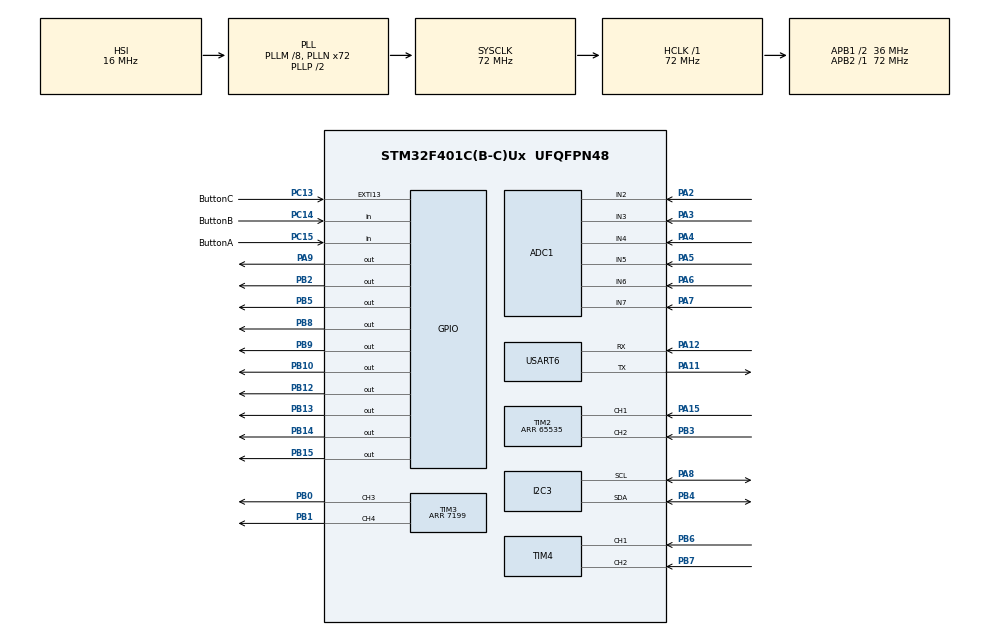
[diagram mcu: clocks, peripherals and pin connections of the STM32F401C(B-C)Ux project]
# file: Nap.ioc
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ADC1.Channel-0\#ChannelRegularConversion=ADC_CHANNEL_2
ADC1.Channel-1\#ChannelRegularConversion=ADC_CHANNEL_3
ADC1.Channel-2\#ChannelRegularConversion=ADC_CHANNEL_4
ADC1.Channel-3\#ChannelRegularConversion=ADC_CHANNEL_5
ADC1.Channel-4\#ChannelRegularConversion=ADC_CHANNEL_6
ADC1.Channel-5\#ChannelRegularConversion=ADC_CHANNEL_7
ADC1.ContinuousConvMode=ENABLE
ADC1.DMAContinuousRequests=ENABLE
ADC1.NbrOfConversion=6
ADC1.NbrOfConversionFlag=1
ADC1.Rank-0\#ChannelRegularConversion=1
ADC1.Rank-1\#ChannelRegularConversion=2
ADC1.Rank-2\#ChannelRegularConversion=3
ADC1.Rank-3\#ChannelRegularConversion=4
ADC1.Rank-4\#ChannelRegularConversion=5
ADC1.Rank-5\#ChannelRegularConversion=6
ADC1.SamplingTime-0\#ChannelRegularConversion=ADC_SAMPLETIME_56CYCLES
ADC1.SamplingTime-1\#ChannelRegularConversion=ADC_SAMPLETIME_56CYCLES
ADC1.SamplingTime-2\#ChannelRegularConversion=ADC_SAMPLETIME_56CYCLES
ADC1.SamplingTime-3\#ChannelRegularConversion=ADC_SAMPLETIME_56CYCLES
ADC1.SamplingTime-4\#ChannelRegularConversion=ADC_SAMPLETIME_56CYCLES
ADC1.SamplingTime-5\#ChannelRegularConversion=ADC_SAMPLETIME_56CYCLES
ADC1.master=1
Dma.ADC1.0.Direction=DMA_PERIPH_TO_MEMORY
Dma.ADC1.0.FIFOMode=DMA_FIFOMODE_DISABLE
Dma.ADC1.0.Instance=DMA2_Stream0
Dma.ADC1.0.MemDataAlignment=DMA_MDATAALIGN_HALFWORD
Dma.ADC1.0.MemInc=DMA_MINC_ENABLE
Dma.ADC1.0.Mode=DMA_CIRCULAR
Dma.ADC1.0.PeriphDataAlignment=DMA_PDATAALIGN_HALFWORD
Dma.ADC1.0.PeriphInc=DMA_PINC_DISABLE
Dma.ADC1.0.Priority=DMA_PRIORITY_LOW
Dma.Request0=ADC1
Mcu.Family=STM32F4
Mcu.Name=STM32F401C(B-C)Ux
Mcu.Package=UFQFPN48
NVIC.ADC_IRQn=true\:0\:0\:false\:false\:true\:true\:true
NVIC.DMA2_Stream0_IRQn=true\:0\:0\:false\:false\:true\:false\:true
NVIC.EXTI15_10_IRQn=true\:0\:0\:false\:false\:true\:true\:true
NVIC.PriorityGroup=NVIC_PRIORITYGROUP_4
NVIC.TIM5_IRQn=true\:0\:0\:false\:false\:true\:true\:true
PA11.Mode=Asynchronous
PA11.Signal=USART6_TX
PA12.Mode=Asynchronous
PA12.Signal=USART6_RX
PA13.Mode=Serial_Wire
PA13.Signal=SYS_JTMS-SWDIO
PA14.Mode=Serial_Wire
PA14.Signal=SYS_JTCK-SWCLK
PA15.Signal=S_TIM2_CH1_ETR
PA2.Signal=ADCx_IN2
PA3.Signal=ADCx_IN3
PA4.Signal=ADCx_IN4
PA5.Signal=ADCx_IN5
PA6.Signal=ADCx_IN6
PA7.Signal=ADCx_IN7
PA8.Mode=I2C
PA8.Signal=I2C3_SCL
PA9.Signal=GPIO_Output
PB0.Signal=S_TIM3_CH3
PB1.Signal=S_TIM3_CH4
PB10.Signal=GPIO_Output
PB12.Signal=GPIO_Output
PB13.Signal=GPIO_Output
PB14.Signal=GPIO_Output
PB15.Signal=GPIO_Output
PB2.Signal=GPIO_Output
PB3.Signal=S_TIM2_CH2
PB4.Mode=I2C
PB4.Signal=I2C3_SDA
PB5.Signal=GPIO_Output
PB6.Signal=S_TIM4_CH1
PB7.Signal=S_TIM4_CH2
PB8.Signal=GPIO_Output
PB9.Signal=GPIO_Output
PC13-ANTI_TAMP.GPIO_Label=ButtonC
PC13-ANTI_TAMP.GPIO_ModeDefaultEXTI=GPIO_MODE_IT_FALLING
PC13-ANTI_TAMP.Signal=GPXTI13
PC14-OSC32_IN.GPIO_Label=ButtonB
PC14-OSC32_IN.GPIO_Mode=GPIO_MODE_INPUT
PC14-OSC32_IN.Signal=GPIO_Input
PC15-OSC32_OUT.GPIO_Label=ButtonA
PC15-OSC32_OUT.GPIO_Mode=GPIO_MODE_INPUT
PC15-OSC32_OUT.GPIO_PuPd=GPIO_NOPULL
PC15-OSC32_OUT.Signal=GPIO_Input
PH0\ -\ OSC_IN.Mode=HSE-External-Oscillator
PH0\ -\ OSC_IN.Signal=RCC_OSC_IN
PH1\ -\ OSC_OUT.Mode=HSE-External-Oscillator
PH1\ -\ OSC_OUT.Signal=RCC_OSC_OUT
ProjectManager.HeapSize=0x200
ProjectManager.StackSize=0x400
ProjectManager.TargetToolchain=STM32CubeIDE
RCC.48MHZClocksFreq_Value=36000000
RCC.AHBFreq_Value=72000000
RCC.APB1CLKDivider=RCC_HCLK_DIV2
RCC.APB1Freq_Value=36000000
RCC.APB1TimFreq_Value=72000000
RCC.APB2Freq_Value=72000000
RCC.APB2TimFreq_Value=72000000
RCC.CortexFreq_Value=72000000
RCC.HCLKFreq_Value=72000000
RCC.HSE_VALUE=8000000
RCC.HSI_VALUE=16000000
RCC.LSE_VALUE=32768
RCC.PLLM=8
RCC.PLLN=72
RCC.SYSCLKFreq_VALUE=72000000
RCC.SYSCLKSource=RCC_SYSCLKSOURCE_PLLCLK
RCC.VCOOutputFreq_Value=144000000
SH.ADCx_IN2.0=ADC1_IN2,IN2
SH.ADCx_IN3.0=ADC1_IN3,IN3
SH.ADCx_IN4.0=ADC1_IN4,IN4
SH.ADCx_IN5.0=ADC1_IN5,IN5
SH.ADCx_IN6.0=ADC1_IN6,IN6
SH.ADCx_IN7.0=ADC1_IN7,IN7
SH.S_TIM2_CH1_ETR.0=TIM2_CH1,Encoder_Interface
SH.S_TIM2_CH2.0=TIM2_CH2,Encoder_Interface
SH.S_TIM3_CH3.0=TIM3_CH3,PWM Generation3 CH3
SH.S_TIM3_CH4.0=TIM3_CH4,PWM Generation4 CH4
SH.S_TIM4_CH1.0=TIM4_CH1,Encoder_Interface
SH.S_TIM4_CH2.0=TIM4_CH2,Encoder_Interface
TIM2.EncoderMode=TIM_ENCODERMODE_TI12
TIM2.Period=65535
TIM3.Channel-PWM\ Generation3\ CH3=TIM_CHANNEL_3
TIM3.Channel-PWM\ Generation4\ CH4=TIM_CHANNEL_4
TIM3.Period=7199
TIM4.EncoderMode=TIM_ENCODERMODE_TI12
TIM5.Period=59999
TIM5.Prescaler=60
USART6.VirtualMode=VM_ASYNC
USART6.WordLength=WORDLENGTH_9B
VP_TIM5_VS_ClockSourceINT.Mode=Internal
board=custom

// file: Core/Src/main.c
/* USER CODE BEGIN Header */
/**
 ******************************************************************************
 * @file           : main.c
 * @brief          : Main program body
 ******************************************************************************
 * @attention
 *
 * <h2><center>&copy; Copyright (c) 2021 STMicroelectronics.
 * All rights reserved.</center></h2>
 *
 * This software component is licensed by ST under BSD 3-Clause license,
 * the "License"; You may not use this file except in compliance with the
 * License. You may obtain a copy of the License at:
 *                        opensource.org/licenses/BSD-3-Clause
 *
 ******************************************************************************
 */
/* USER CODE END Header */
#include "main.h"

/* USER CODE BEGIN PD */
#define Number_of_Menu_firstline 		1
#define Maximum_Menu_line 				7
#define Maximum_PID_line 				4
#define Maximum_Engine_line 			3

/* Menu Types definition -----------------------------------------------------*/
#define Running_menu 					0
#define Main_menu 						1
#define Color_Processing 				2
#define PID_Menu 						3
#define Engine_menu 					4
#define LineDetect_Show 				5
#define Wifi_Connect 					6
#define Saving_Process 					7

/* Increase or Decrease amount for PID ---------------------------------------*/
#define Kp_amount 					 0.1f
#define Ki_amount 					 0.1f
#define Kd_amount 					 0.1f
/* USER CODE END PD */

/* USER CODE BEGIN PM */
#define sbi(Reg,Bit) (Reg != (1<<Bit))
#define cbi(Reg,Bit) (Reg &= ~(1<<Bit))
/* USER CODE END PM */

ADC_HandleTypeDef hadc1;
DMA_HandleTypeDef hdma_adc1;

I2C_HandleTypeDef hi2c3;

TIM_HandleTypeDef htim2;
TIM_HandleTypeDef htim3;
TIM_HandleTypeDef htim4;
TIM_HandleTypeDef htim5;

UART_HandleTypeDef huart6;

/* USER CODE BEGIN PV */

extern uint8_t menu_display;
extern uint8_t Menu_type;
extern uint8_t line;

uint8_t LineDetect = 0;
uint8_t stateBTNC = 1;
uint8_t cancer_menu = 1;
uint8_t cancer_running = 1;
uint8_t Kp_modify_flag = 0, Ki_modify_flag = 0, Kd_modify_flag = 0;
uint8_t Left_modify_flag = 0, Right_modify_flag = 0;
int16_t Left = 7200, Right = 7200;
uint16_t Sensor_Threshold[] = { 2100, 2100, 2100, 2100, 2100, 2100 };
uint16_t Sensor_ADC_Value[6];
float Kp = 0, Ki = 0, Kd = 0;
char string_2[1];
char PID_Rx[12];
char kp_val[10], ki_val[10], kd_val[10];
/* USER CODE END PV */

void SystemClock_Config(void);
static void MX_GPIO_Init(void);
static void MX_DMA_Init(void);
static void MX_USART6_UART_Init(void);
static void MX_TIM2_Init(void);
static void MX_TIM3_Init(void);
static void MX_ADC1_Init(void);
static void MX_TIM4_Init(void);
static void MX_I2C3_Init(void);
static void MX_TIM5_Init(void);
/* USER CODE BEGIN PFP */
static void SelectItem(void);
static void Sensor_Convert_A2D(void);
static void MultifunctionButton(void);
static void ScrollUp(void);
static void ReadFlash(void);
/* USER CODE END PFP */

/* USER CODE BEGIN 0 */
PUTCHAR_PROTOTYPE {
	/* Place your implementation of fputc here */
	/* e.g. write a character to the USART2 and Loop until the end of transmission */
	HAL_UART_Transmit(&huart6, (uint8_t*) &ch, 1, 0xFFFF);
	return ch;
}
/* USER CODE END 0 */

int main(void)
{

  /* MCU Configuration--------------------------------------------------------*/

  /* Reset of all peripherals, Initializes the Flash interface and the Systick. */
  HAL_Init();

  /* Configure the system clock */
  SystemClock_Config();

  /* Initialize all configured peripherals */
  MX_GPIO_Init();
  MX_DMA_Init();
  MX_USART6_UART_Init();
  MX_TIM2_Init();
  MX_TIM3_Init();
  MX_ADC1_Init();
  MX_TIM4_Init();
  MX_I2C3_Init();
  MX_TIM5_Init();
  /* USER CODE BEGIN 2 */
  lcd_init();
  MotorL_EnablePWM();
  MotorR_EnablePWM();
  HAL_ADC_Start_DMA(&hadc1, (uint32_t*) &Sensor_ADC_Value, 6);

  /* USER CODE END 2 */

  /* Infinite loop */
  /* USER CODE BEGIN WHILE */
	while (1) {
		ReadFlash();
		lcd_clear();
		while (menu_display) {
			Menu_system_control(Menu_type, line);
			ScrollUp();
			SelectItem();

		}
	}
    /* USER CODE END WHILE */

}

void SystemClock_Config(void)
{
  RCC_OscInitTypeDef RCC_OscInitStruct = {0};
  RCC_ClkInitTypeDef RCC_ClkInitStruct = {0};

  /** Configure the main internal regulator output voltage
  */
  __HAL_RCC_PWR_CLK_ENABLE();
  __HAL_PWR_VOLTAGESCALING_CONFIG(PWR_REGULATOR_VOLTAGE_SCALE2);
  /** Initializes the RCC Oscillators according to the specified parameters
  * in the RCC_OscInitTypeDef structure.
  */
  RCC_OscInitStruct.OscillatorType = RCC_OSCILLATORTYPE_HSI;
  RCC_OscInitStruct.HSIState = RCC_HSI_ON;
  RCC_OscInitStruct.HSICalibrationValue = RCC_HSICALIBRATION_DEFAULT;
  RCC_OscInitStruct.PLL.PLLState = RCC_PLL_ON;
  RCC_OscInitStruct.PLL.PLLSource = RCC_PLLSOURCE_HSI;
  RCC_OscInitStruct.PLL.PLLM = 8;
  RCC_OscInitStruct.PLL.PLLN = 72;
  RCC_OscInitStruct.PLL.PLLP = RCC_PLLP_DIV2;
  RCC_OscInitStruct.PLL.PLLQ = 4;
  if (HAL_RCC_OscConfig(&RCC_OscInitStruct) != HAL_OK)
  {
    Error_Handler();
  }
  /** Initializes the CPU, AHB and APB buses clocks
  */
  RCC_ClkInitStruct.ClockType = RCC_CLOCKTYPE_HCLK|RCC_CLOCKTYPE_SYSCLK
                              |RCC_CLOCKTYPE_PCLK1|RCC_CLOCKTYPE_PCLK2;
  RCC_ClkInitStruct.SYSCLKSource = RCC_SYSCLKSOURCE_PLLCLK;
  RCC_ClkInitStruct.AHBCLKDivider = RCC_SYSCLK_DIV1;
  RCC_ClkInitStruct.APB1CLKDivider = RCC_HCLK_DIV2;
  RCC_ClkInitStruct.APB2CLKDivider = RCC_HCLK_DIV1;

  if (HAL_RCC_ClockConfig(&RCC_ClkInitStruct, FLASH_LATENCY_2) != HAL_OK)
  {
    Error_Handler();
  }
}

static void MX_ADC1_Init(void)
{

  ADC_ChannelConfTypeDef sConfig = {0};

  /** Configure the global features of the ADC (Clock, Resolution, Data Alignment and number of conversion)
  */
  hadc1.Instance = ADC1;
  hadc1.Init.ClockPrescaler = ADC_CLOCK_SYNC_PCLK_DIV2;
  hadc1.Init.Resolution = ADC_RESOLUTION_12B;
  hadc1.Init.ScanConvMode = ENABLE;
  hadc1.Init.ContinuousConvMode = ENABLE;
  hadc1.Init.DiscontinuousConvMode = DISABLE;
  hadc1.Init.ExternalTrigConvEdge = ADC_EXTERNALTRIGCONVEDGE_NONE;
  hadc1.Init.ExternalTrigConv = ADC_SOFTWARE_START;
  hadc1.Init.DataAlign = ADC_DATAALIGN_RIGHT;
  hadc1.Init.NbrOfConversion = 6;
  hadc1.Init.DMAContinuousRequests = ENABLE;
  hadc1.Init.EOCSelection = ADC_EOC_SINGLE_CONV;
  if (HAL_ADC_Init(&hadc1) != HAL_OK)
  {
    Error_Handler();
  }
  /** Configure for the selected ADC regular channel its corresponding rank in the sequencer and its sample time.
  */
  sConfig.Channel = ADC_CHANNEL_2;
  sConfig.Rank = 1;
  sConfig.SamplingTime = ADC_SAMPLETIME_56CYCLES;
  if (HAL_ADC_ConfigChannel(&hadc1, &sConfig) != HAL_OK)
  {
    Error_Handler();
  }
  /** Configure for the selected ADC regular channel its corresponding rank in the sequencer and its sample time.
  */
  sConfig.Channel = ADC_CHANNEL_3;
  sConfig.Rank = 2;
  if (HAL_ADC_ConfigChannel(&hadc1, &sConfig) != HAL_OK)
  {
    Error_Handler();
  }
  /** Configure for the selected ADC regular channel its corresponding rank in the sequencer and its sample time.
  */
  sConfig.Channel = ADC_CHANNEL_4;
  sConfig.Rank = 3;
  if (HAL_ADC_ConfigChannel(&hadc1, &sConfig) != HAL_OK)
  {
    Error_Handler();
  }
  /** Configure for the selected ADC regular channel its corresponding rank in the sequencer and its sample time.
  */
  sConfig.Channel = ADC_CHANNEL_5;
  sConfig.Rank = 4;
  if (HAL_ADC_ConfigChannel(&hadc1, &sConfig) != HAL_OK)
  {
    Error_Handler();
  }
  /** Configure for the selected ADC regular channel its corresponding rank in the sequencer and its sample time.
  */
  sConfig.Channel = ADC_CHANNEL_6;
  sConfig.Rank = 5;
  if (HAL_ADC_ConfigChannel(&hadc1, &sConfig) != HAL_OK)
  {
    Error_Handler();
  }
  /** Configure for the selected ADC regular channel its corresponding rank in the sequencer and its sample time.
  */
  sConfig.Channel = ADC_CHANNEL_7;
  sConfig.Rank = 6;
  if (HAL_ADC_ConfigChannel(&hadc1, &sConfig) != HAL_OK)
  {
    Error_Handler();
  }

}

static void MX_I2C3_Init(void)
{

  hi2c3.Instance = I2C3;
  hi2c3.Init.ClockSpeed = 100000;
  hi2c3.Init.DutyCycle = I2C_DUTYCYCLE_2;
  hi2c3.Init.OwnAddress1 = 0;
  hi2c3.Init.AddressingMode = I2C_ADDRESSINGMODE_7BIT;
  hi2c3.Init.DualAddressMode = I2C_DUALADDRESS_DISABLE;
  hi2c3.Init.OwnAddress2 = 0;
  hi2c3.Init.GeneralCallMode = I2C_GENERALCALL_DISABLE;
  hi2c3.Init.NoStretchMode = I2C_NOSTRETCH_DISABLE;
  if (HAL_I2C_Init(&hi2c3) != HAL_OK)
  {
    Error_Handler();
  }

}

static void MX_TIM2_Init(void)
{

  TIM_Encoder_InitTypeDef sConfig = {0};
  TIM_MasterConfigTypeDef sMasterConfig = {0};

  htim2.Instance = TIM2;
  htim2.Init.Prescaler = 0;
  htim2.Init.CounterMode = TIM_COUNTERMODE_UP;
  htim2.Init.Period = 65535;
  htim2.Init.ClockDivision = TIM_CLOCKDIVISION_DIV1;
  htim2.Init.AutoReloadPreload = TIM_AUTORELOAD_PRELOAD_DISABLE;
  sConfig.EncoderMode = TIM_ENCODERMODE_TI1;
  sConfig.IC1Polarity = TIM_ICPOLARITY_RISING;
  sConfig.IC1Selection = TIM_ICSELECTION_DIRECTTI;
  sConfig.IC1Prescaler = TIM_ICPSC_DIV1;
  sConfig.IC1Filter = 0;
  sConfig.IC2Polarity = TIM_ICPOLARITY_RISING;
  sConfig.IC2Selection = TIM_ICSELECTION_DIRECTTI;
  sConfig.IC2Prescaler = TIM_ICPSC_DIV1;
  sConfig.IC2Filter = 0;
  if (HAL_TIM_Encoder_Init(&htim2, &sConfig) != HAL_OK)
  {
    Error_Handler();
  }
  sMasterConfig.MasterOutputTrigger = TIM_TRGO_RESET;
  sMasterConfig.MasterSlaveMode = TIM_MASTERSLAVEMODE_DISABLE;
  if (HAL_TIMEx_MasterConfigSynchronization(&htim2, &sMasterConfig) != HAL_OK)
  {
    Error_Handler();
  }

}

static void MX_TIM3_Init(void)
{

  TIM_MasterConfigTypeDef sMasterConfig = {0};
  TIM_OC_InitTypeDef sConfigOC = {0};

  htim3.Instance = TIM3;
  htim3.Init.Prescaler = 0;
  htim3.Init.CounterMode = TIM_COUNTERMODE_UP;
  htim3.Init.Period = 7199;
  htim3.Init.ClockDivision = TIM_CLOCKDIVISION_DIV1;
  htim3.Init.AutoReloadPreload = TIM_AUTORELOAD_PRELOAD_DISABLE;
  if (HAL_TIM_PWM_Init(&htim3) != HAL_OK)
  {
    Error_Handler();
  }
  sMasterConfig.MasterOutputTrigger = TIM_TRGO_RESET;
  sMasterConfig.MasterSlaveMode = TIM_MASTERSLAVEMODE_DISABLE;
  if (HAL_TIMEx_MasterConfigSynchronization(&htim3, &sMasterConfig) != HAL_OK)
  {
    Error_Handler();
  }
  sConfigOC.OCMode = TIM_OCMODE_PWM1;
  sConfigOC.Pulse = 0;
  sConfigOC.OCPolarity = TIM_OCPOLARITY_HIGH;
  sConfigOC.OCFastMode = TIM_OCFAST_DISABLE;
  if (HAL_TIM_PWM_ConfigChannel(&htim3, &sConfigOC, TIM_CHANNEL_3) != HAL_OK)
  {
    Error_Handler();
  }
  if (HAL_TIM_PWM_ConfigChannel(&htim3, &sConfigOC, TIM_CHANNEL_4) != HAL_OK)
  {
    Error_Handler();
  }
  HAL_TIM_MspPostInit(&htim3);

}

static void MX_TIM4_Init(void)
{

  TIM_Encoder_InitTypeDef sConfig = {0};
  TIM_MasterConfigTypeDef sMasterConfig = {0};

  htim4.Instance = TIM4;
  htim4.Init.Prescaler = 0;
  htim4.Init.CounterMode = TIM_COUNTERMODE_UP;
  htim4.Init.Period = 65535;
  htim4.Init.ClockDivision = TIM_CLOCKDIVISION_DIV1;
  htim4.Init.AutoReloadPreload = TIM_AUTORELOAD_PRELOAD_DISABLE;
  sConfig.EncoderMode = TIM_ENCODERMODE_TI1;
  sConfig.IC1Polarity = TIM_ICPOLARITY_RISING;
  sConfig.IC1Selection = TIM_ICSELECTION_DIRECTTI;
  sConfig.IC1Prescaler = TIM_ICPSC_DIV1;
  sConfig.IC1Filter = 0;
  sConfig.IC2Polarity = TIM_ICPOLARITY_RISING;
  sConfig.IC2Selection = TIM_ICSELECTION_DIRECTTI;
  sConfig.IC2Prescaler = TIM_ICPSC_DIV1;
  sConfig.IC2Filter = 0;
  if (HAL_TIM_Encoder_Init(&htim4, &sConfig) != HAL_OK)
  {
    Error_Handler();
  }
  sMasterConfig.MasterOutputTrigger = TIM_TRGO_RESET;
  sMasterConfig.MasterSlaveMode = TIM_MASTERSLAVEMODE_DISABLE;
  if (HAL_TIMEx_MasterConfigSynchronization(&htim4, &sMasterConfig) != HAL_OK)
  {
    Error_Handler();
  }

}

static void MX_TIM5_Init(void)
{

  TIM_ClockConfigTypeDef sClockSourceConfig = {0};
  TIM_MasterConfigTypeDef sMasterConfig = {0};

  htim5.Instance = TIM5;
  htim5.Init.Prescaler = 60;
  htim5.Init.CounterMode = TIM_COUNTERMODE_UP;
  htim5.Init.Period = 59999;
  htim5.Init.ClockDivision = TIM_CLOCKDIVISION_DIV1;
  htim5.Init.AutoReloadPreload = TIM_AUTORELOAD_PRELOAD_DISABLE;
  if (HAL_TIM_Base_Init(&htim5) != HAL_OK)
  {
    Error_Handler();
  }
  sClockSourceConfig.ClockSource = TIM_CLOCKSOURCE_INTERNAL;
  if (HAL_TIM_ConfigClockSource(&htim5, &sClockSourceConfig) != HAL_OK)
  {
    Error_Handler();
  }
  sMasterConfig.MasterOutputTrigger = TIM_TRGO_RESET;
  sMasterConfig.MasterSlaveMode = TIM_MASTERSLAVEMODE_DISABLE;
  if (HAL_TIMEx_MasterConfigSynchronization(&htim5, &sMasterConfig) != HAL_OK)
  {
    Error_Handler();
  }

}

static void MX_USART6_UART_Init(void)
{

  huart6.Instance = USART6;
  huart6.Init.BaudRate = 115200;
  huart6.Init.WordLength = UART_WORDLENGTH_9B;
  huart6.Init.StopBits = UART_STOPBITS_1;
  huart6.Init.Parity = UART_PARITY_NONE;
  huart6.Init.Mode = UART_MODE_TX_RX;
  huart6.Init.HwFlowCtl = UART_HWCONTROL_NONE;
  huart6.Init.OverSampling = UART_OVERSAMPLING_16;
  if (HAL_UART_Init(&huart6) != HAL_OK)
  {
    Error_Handler();
  }

}

static void MX_DMA_Init(void)
{

  /* DMA controller clock enable */
  __HAL_RCC_DMA2_CLK_ENABLE();

  /* DMA interrupt init */
  /* DMA2_Stream0_IRQn interrupt configuration */
  HAL_NVIC_SetPriority(DMA2_Stream0_IRQn, 0, 0);
  HAL_NVIC_EnableIRQ(DMA2_Stream0_IRQn);

}

static void MX_GPIO_Init(void)
{
  GPIO_InitTypeDef GPIO_InitStruct = {0};

  /* GPIO Ports Clock Enable */
  __HAL_RCC_GPIOC_CLK_ENABLE();
  __HAL_RCC_GPIOH_CLK_ENABLE();
  __HAL_RCC_GPIOA_CLK_ENABLE();
  __HAL_RCC_GPIOB_CLK_ENABLE();

  /*Configure GPIO pin Output Level */
  HAL_GPIO_WritePin(GPIOB, GPIO_PIN_2|GPIO_PIN_10|GPIO_PIN_12|GPIO_PIN_13
                          |GPIO_PIN_14|GPIO_PIN_15|GPIO_PIN_5|GPIO_PIN_8
                          |GPIO_PIN_9, GPIO_PIN_RESET);

  /*Configure GPIO pin Output Level */
  HAL_GPIO_WritePin(GPIOA, GPIO_PIN_9, GPIO_PIN_RESET);

  /*Configure GPIO pin : ButtonC_Pin */
  GPIO_InitStruct.Pin = ButtonC_Pin;
  GPIO_InitStruct.Mode = GPIO_MODE_IT_FALLING;
  GPIO_InitStruct.Pull = GPIO_NOPULL;
  HAL_GPIO_Init(ButtonC_GPIO_Port, &GPIO_InitStruct);

  /*Configure GPIO pins : ButtonB_Pin ButtonA_Pin */
  GPIO_InitStruct.Pin = ButtonB_Pin|ButtonA_Pin;
  GPIO_InitStruct.Mode = GPIO_MODE_INPUT;
  GPIO_InitStruct.Pull = GPIO_NOPULL;
  HAL_GPIO_Init(GPIOC, &GPIO_InitStruct);

  /*Configure GPIO pins : PB2 PB10 PB12 PB13
                           PB14 PB15 PB5 PB8
                           PB9 */
  GPIO_InitStruct.Pin = GPIO_PIN_2|GPIO_PIN_10|GPIO_PIN_12|GPIO_PIN_13
                          |GPIO_PIN_14|GPIO_PIN_15|GPIO_PIN_5|GPIO_PIN_8
                          |GPIO_PIN_9;
  GPIO_InitStruct.Mode = GPIO_MODE_OUTPUT_PP;
  GPIO_InitStruct.Pull = GPIO_NOPULL;
  GPIO_InitStruct.Speed = GPIO_SPEED_FREQ_LOW;
  HAL_GPIO_Init(GPIOB, &GPIO_InitStruct);

  /*Configure GPIO pin : PA9 */
  GPIO_InitStruct.Pin = GPIO_PIN_9;
  GPIO_InitStruct.Mode = GPIO_MODE_OUTPUT_PP;
  GPIO_InitStruct.Pull = GPIO_NOPULL;
  GPIO_InitStruct.Speed = GPIO_SPEED_FREQ_LOW;
  HAL_GPIO_Init(GPIOA, &GPIO_InitStruct);

  /* EXTI interrupt init*/
  HAL_NVIC_SetPriority(EXTI15_10_IRQn, 0, 0);
  HAL_NVIC_EnableIRQ(EXTI15_10_IRQn);

}

/* USER CODE BEGIN 4 */
void Sensor_Convert_A2D()
{
	LineDetect = 0;
	for (int i = 0; i < 6; ++i)
	{
		if (Sensor_ADC_Value[i] > Sensor_Threshold[i])
		{
			sbi(LineDetect, (7 - i));
//			printf("1 ");
		}
		else
		{
//			printf("0 ");
		}
	}
//	printf("\n");
//	HAL_Delay(100);
}
void Sensor_PrintValue(void)
{
	printf("Sensor Val: ");
	for (int i = 0; i < 6; ++i)
	{
		printf("%u ", Sensor_ADC_Value[i]);
	}
	printf("\n");

}
void ScrollUp(void)
{
	if (HAL_GPIO_ReadPin(ButtonA_GPIO_Port, ButtonA_Pin) == 0)
	{
		while (HAL_GPIO_ReadPin(ButtonA_GPIO_Port, ButtonA_Pin) == 0)
		{
			HAL_Delay(50);
		}
		switch (Menu_type)
		{
		case Main_menu:
			line--;
			if (line < Number_of_Menu_firstline)
			{
				line = Maximum_Menu_line;
			}
			break;
		case PID_Menu:
			line--;
			if (line < Number_of_Menu_firstline)
			{
				line = Maximum_PID_line;
			}
			if (Kp_modify_flag == 1)
			{
				Kp += Kp_amount;
				line = 1;
			}
			if (Ki_modify_flag == 1)
			{
				Ki += Ki_amount;
				line = 2;
			}
			if (Kd_modify_flag == 1)
			{
				Kd += Kd_amount;
				line = 3;
			}
			Menu_system_control(PID_Menu, line);
			break;
		case Engine_menu:
			line--;
			if (line < Number_of_Menu_firstline)
			{
				line = Maximum_Engine_line;
			}
			if (Left_modify_flag == 1)
			{
				Left += 100;
				line = 1;
				if (Left >= 7200)
				{
					Left = 7200;
				}
			}
			if (Right_modify_flag == 1)
			{
				Right += 100;
				line = 2;
				if (Right >= 7200)
				{
					Right = 7200;
				}
			}
			break;
		}
	}
}
void SelectItem(void)
{
	if (HAL_GPIO_ReadPin(ButtonB_GPIO_Port, ButtonB_Pin) == 0) //Select button
	{
		while (HAL_GPIO_ReadPin(ButtonB_GPIO_Port, ButtonB_Pin) == 0)
		{
			HAL_Delay(50);
		}
		executeAction(line);
		if (Kp_modify_flag == 1 || Ki_modify_flag == 1 || Kd_modify_flag == 1
				|| Right_modify_flag == 1 || Left_modify_flag == 1)
		{
			__NOP();
		}
		else
		{
			line = 1;
		}
	}
}
void MultifunctionButton(void)
{
	switch (Menu_type)
	{
	case Running_menu:
		Menu_type = Main_menu;
		line = 1;
		cancer_running = 0;
		break;
	case Main_menu:
		line++;
		if (line > Maximum_Menu_line)
		{
			line = Number_of_Menu_firstline;
		}
		Menu_system_control(Menu_type, line);
		break;
	case PID_Menu:
		line++;
		if (line > Maximum_PID_line)
		{
			line = Number_of_Menu_firstline;
		}
		if (Kp_modify_flag == 1)
		{
			Kp -= Kp_amount;
			line = 1;
			if (Kp <= 0)
				{Kp = 0;}
		}
		if (Ki_modify_flag == 1)
		{
			Ki -= Ki_amount;
			line = 2;
			if (Ki <= 0)
				{Ki = 0;}
		}
		if (Kd_modify_flag == 1)
		{
			Kd -= Kd_amount;
			line = 3;
			if (Kd <= 0)
				{Kd = 0;}
		}
		Menu_system_control(Menu_type, line);
		break;
	case Engine_menu:
		line++;
		if (line > Maximum_Engine_line)
		{
			line = Number_of_Menu_firstline;
		}
		if (Left_modify_flag == 1)
		{
			Left -= 100;
			line = 1;
			if (Left <= -7200)
				{Left = -7200;}
		}
		if (Right_modify_flag == 1)
		{
			Right -= 100;
			line = 2;
			if (Right <= -7200)
				{Right = -7200;}
		}
		Menu_system_control(Menu_type, line);
		break;
	case LineDetect_Show:
		Menu_type = Main_menu;
		line = 1;
		cancer_menu = 0;
		break;
	}
}

//Deboucing button program
void HAL_GPIO_EXTI_Callback(uint16_t GPIO_Pin)
{
	if (GPIO_Pin == ButtonC_Pin && stateBTNC == 1)
	{
		HAL_TIM_Base_Start_IT(&htim5);
		stateBTNC = 0;
	}

	else
	{
		__NOP();
	}
}
void HAL_TIM_PeriodElapsedCallback(TIM_HandleTypeDef *htim)
{
	if (htim->Instance == htim5.Instance)
	{
		if (HAL_GPIO_ReadPin(ButtonC_GPIO_Port, ButtonC_Pin)
				== GPIO_PIN_RESET)
		{
			MultifunctionButton();
			menu_display = 1;
			stateBTNC = 1;
			HAL_TIM_Base_Stop_IT(&htim5);

		}
	}
}
void ReadFlash(void)
{
	Flash_Read_Data(0x08020000, PID_Rx);
	Convert_To_Str(PID_Rx, string_2);
	char *KpinString = strtok(string_2," ");
	char *KiinString = strtok(NULL," ");
	char *KdinString = strtok(NULL," ");
	Kp = strtod(KpinString, NULL);
	Ki = strtod(KiinString, NULL);
	Kd = strtod(KdinString, NULL);

}
/* USER CODE END 4 */

void Error_Handler(void)
{
	__disable_irq();
	while (1)
	{
	}
}

/************************ (C) COPYRIGHT STMicroelectronics *****END OF FILE****/
